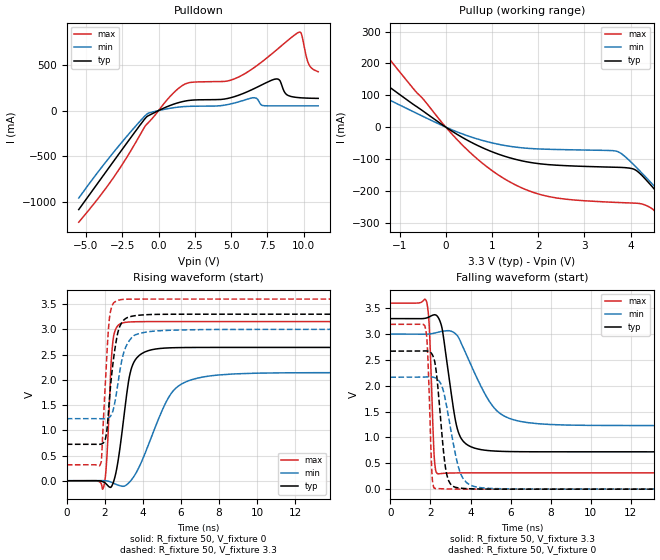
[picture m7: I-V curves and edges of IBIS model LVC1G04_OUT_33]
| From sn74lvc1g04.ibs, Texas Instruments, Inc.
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[Model]   LVC1G04_OUT_33
Model_type  Output
Vref =   0
Rref =   500
Cref =   50p
Vmeas =   1.5
| variable   typ   min   max
C_comp   8.98pF   2.84pF   13.54pF
| C_pullup   10.67pF   6.88pF   13.54pF
| C_pulldown   7.29pF   2.84pF   10.91pF
[Temperature Range]   40   100   -40
| Ambient temperature   25   85   -40
[Voltage range]   3.3   3   3.6
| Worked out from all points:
|   slope of the pulldown table from 0 to 0.495 V, typ, clamps not added: 13.5 ohm
|   slope of the pullup table from 0 to 0.495 V, typ, clamps not added: 11.4 ohm
|   rising waveform, R_fixture 50, V_fixture 0: 20-80 % time 571ps typ, 1.47ns min, 233ps max; typ from 0 V to 2.64 V
|   falling waveform, R_fixture 50, V_fixture 3.3: 20-80 % time 590ps typ, 1.41ns min, 182ps max; typ from 3.3 V to 0.722 V
|   rising waveform, R_fixture 50, V_fixture 3.3: 20-80 % time 440ps typ, 554ps min, 283ps max; typ from 0.722 V to 3.3 V
|   falling waveform, R_fixture 50, V_fixture 0: 20-80 % time 381ps typ, 650ps min, 168ps max; typ from 2.67 V to 0 V
[Pulldown]
| LVC1G04_OUT_33
|   Voltage   I(typ)   I(min)   I(max)
-5.5V     -1.082A    -956.5mA   -1.22A
-3.105V   -555.4mA   -456.7mA   -732.9mA
-835mV    -70.9mA    -43.13mA   -152.5mA
1.66V     98.39mA    42.39mA    276.1mA
5.18V     150mA      80.8mA     343.9mA
6.585V    240.2mA    140.6mA    470.1mA
8.12V     346.1mA    51.54mA    662.2mA
8.815V    176.2mA    51.63mA    755.2mA
9.71V     141mA      51.77mA    858.3mA
9.86V     139.3mA    51.79mA    829mA
10.35V    135.7mA    51.87mA    507mA
11V       133.4mA    51.98mA    424.8mA
[Pullup]
| LVC1G04_OUT_33
|   Voltage   I(typ)   I(min)   I(max)
-5.5V     561.7mA    363.4mA    1.021A
-4.52V    469.3mA    308.5mA    835mA
-3.075V   323.4mA    217.2mA    560mA
-1.915V   200.4mA    136mA      341.6mA
-1.63V    169.8mA    115.3mA    288.7mA
515mV     -44.89mA   -29.32mA   -78.18mA
2.06V     -115.5mA   -68.75mA   -212.2mA
3.76V     -126.3mA   -79.58mA   -236.7mA
4.165V    -140.9mA   -132.5mA   -239.3mA
4.865V    -255.2mA   -240.9mA   -333.5mA
5.365V    -345.1mA   -321.6mA   -447.1mA
11V       -1.47A     -1.366A    -1.689A
[Ramp]
| LVC1G04_OUT_33
| variable   typ   min   max
dV/dt_r   1.66/6.04E-10   1.35/1.53E-09   1.99/2.55E-10
dV/dt_f   1.59/6.09E-10   1.10/1.44E-09   2.03/1.98E-10
R_load = 50
[Rising Waveform]
| LVC1G04_OUT_33
R_fixture =   50
C_fixture =   0
L_fixture =   0
V_fixture =   0
V_fixture_min = 0
V_fixture_max = 0
|   Time   V(typ)   V(min)   V(max)
0s        176.2pV    118.4nV    60.24pV
1.93ns    -25.02mV   2.426mV    -132.3mV
2.095ns   -72.06mV   -3.688mV   385.1mV
2.425ns   -55.88mV   -43.28mV   2.76V
2.89ns    919.9mV    -107.1mV   3.122V
3.29ns    2.057V     -30.69mV   3.146V
3.675ns   2.432V     176.4mV    3.151V
5.385ns   2.633V     1.67V      3.154V
6.655ns   2.641V     2.012V     3.154V
23.6ns    2.642V     2.142V     3.154V
[Falling Waveform]
| LVC1G04_OUT_33
R_fixture =   50
C_fixture =   0
L_fixture =   0
V_fixture =   3.3
V_fixture_min = 3
V_fixture_max = 3.6
|   Time   V(typ)   V(min)   V(max)
0s        3.3V       3V         3.6V
1.815ns   3.314V     2.998V     3.621V
1.95ns    3.335V     3.002V     3.078V
2.19ns    3.374V     3.018V     621mV
2.35ns    3.343V     3.034V     299.9mV
3.35ns    1.158V     2.966V     314.4mV
4.185ns   796.1mV    2.264V     315.7mV
5.315ns   735.4mV    1.516V     315.9mV
6.845ns   724mV      1.288V     315.9mV
23.6ns    722.5mV    1.23V      315.9mV
[Rising Waveform]
| LVC1G04_OUT_33
R_fixture =   50
C_fixture =   0
L_fixture =   0
V_fixture =   3.3
V_fixture_min = 3
V_fixture_max = 3.6
|   Time   V(typ)   V(min)   V(max)
0s        722.4mV    1.23V      315.9mV
1.8ns     725.8mV    1.229V     359.8mV
2.055ns   871.8mV    1.229V     2.115V
2.235ns   1.578V     1.255V     3.191V
2.45ns    2.391V     1.418V     3.518V
2.69ns    2.941V     1.929V     3.573V
2.935ns   3.156V     2.454V     3.592V
3.205ns   3.236V     2.728V     3.597V
4.29ns    3.292V     2.953V     3.6V
23.6ns    3.3V       3V         3.6V
[Falling Waveform]
| LVC1G04_OUT_33
R_fixture =   50
C_fixture =   0
L_fixture =   0
V_fixture =   0
V_fixture_min = 0
V_fixture_max = 0
|   Time   V(typ)   V(min)   V(max)
0s        2.67V      2.166V     3.189V
1.73ns    2.675V     2.17V      3.146V
1.86ns    2.671V     2.172V     2.648V
2.08ns    2.611V     2.171V     274.7mV
2.23ns    2.433V     2.156V     12.71mV
2.755ns   405.3mV    1.711V     5.352mV
3.22ns    39.52mV    726.1mV    1.831mV
3.685ns   13.57mV    177.1mV    621uV
4.62ns    2.576mV    24.21mV    82.76uV
23.6ns    15.11uV    16.9uV     5.141uV
